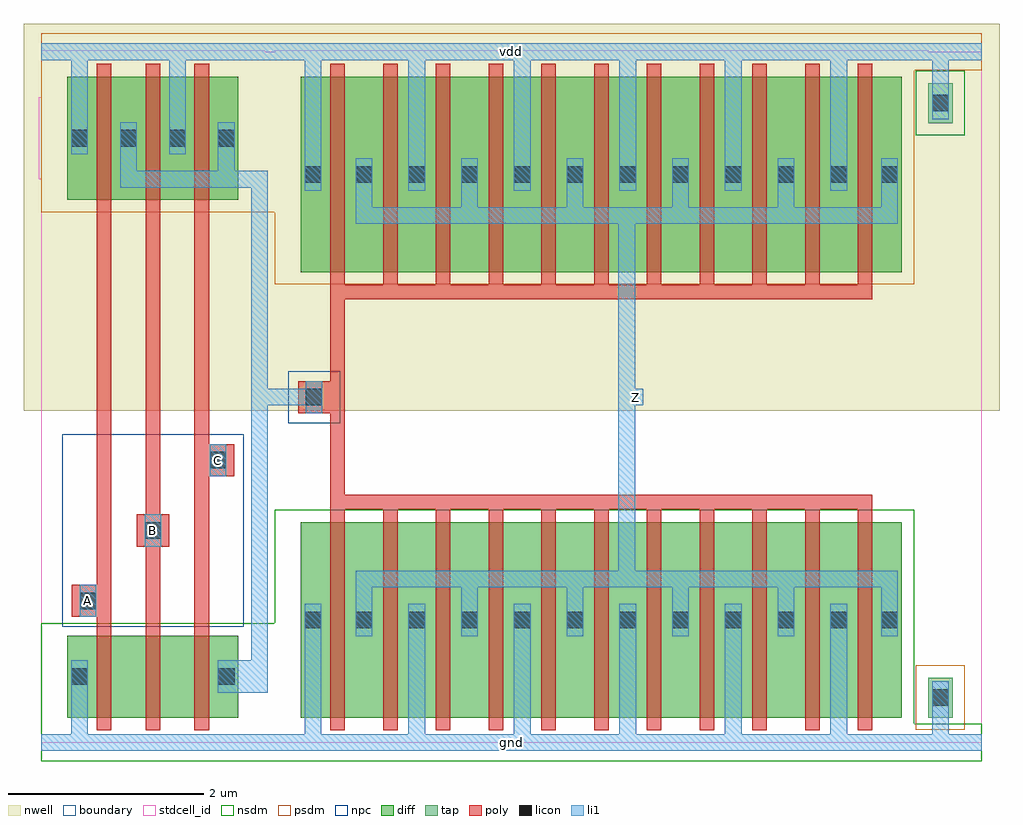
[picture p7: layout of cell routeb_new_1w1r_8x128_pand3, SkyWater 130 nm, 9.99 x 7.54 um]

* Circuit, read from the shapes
.subckt routeb_new_1w1r_8x128_pand3 A B C Z gnd vdd
XM1 routeb_new_1w1r_8x128_pnand3_0/routeb_new_1w1r_8x128_nmos_m1_w0_840_sli_dactive_3/D A gnd gnd sky130_fd_pr__nfet_01v8 w=0.84 l=0.15
XM2 routeb_new_1w1r_8x128_pnand3_0/routeb_new_1w1r_8x128_nmos_m1_w0_840_sactive_dactive_4/D B routeb_new_1w1r_8x128_pnand3_0/routeb_new_1w1r_8x128_nmos_m1_w0_840_sli_dactive_3/D gnd sky130_fd_pr__nfet_01v8 w=0.84 l=0.15
XM3 routeb_new_1w1r_8x128_pdriver_2_1/A C routeb_new_1w1r_8x128_pnand3_0/routeb_new_1w1r_8x128_nmos_m1_w0_840_sactive_dactive_4/D gnd sky130_fd_pr__nfet_01v8 w=0.84 l=0.15
XM4 Z routeb_new_1w1r_8x128_pdriver_2_1/A gnd gnd sky130_fd_pr__nfet_01v8 w=2 l=0.15 m=11
XM5 routeb_new_1w1r_8x128_pdriver_2_1/A A vdd vdd sky130_fd_pr__pfet_01v8 w=1.26 l=0.15
XM6 vdd B routeb_new_1w1r_8x128_pdriver_2_1/A vdd sky130_fd_pr__pfet_01v8 w=1.26 l=0.15
XM7 routeb_new_1w1r_8x128_pdriver_2_1/A C vdd vdd sky130_fd_pr__pfet_01v8 w=1.26 l=0.15
XM8 Z routeb_new_1w1r_8x128_pdriver_2_1/A vdd vdd sky130_fd_pr__pfet_01v8 w=2 l=0.15 m=11
.ends

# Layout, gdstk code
import gdstk
lib = gdstk.Library(unit=1e-6, precision=1e-09)
def R(c, l, rs):  # rectangles x0, y0, x1, y1
    for r in rs: c.add(gdstk.rectangle(r[:2], r[2:], *l))
def A(c, l, x, y, w, h, nx, ny, dx, dy):  # array of equal rectangles
    R(c, l, [(x+i*dx, y+j*dy, x+i*dx+w, y+j*dy+h) for i in range(nx) for j in range(ny)])
nwell = (64, 20)
diff = (65, 20)
tap = (65, 44)
poly = (66, 20)
licon = (66, 44)
li1 = (67, 20)
stdcell_id = (81, 4)
nsdm = (93, 44)
psdm = (94, 20)
npc = (95, 20)
boundary = (235, 4)

routeb_new_1w1r_8x128_co = lib.new_cell('routeb_new_1w1r_8x128_contact_11')
R(routeb_new_1w1r_8x128_co, nwell, [(-0.295,-0.255,0.545,0.585)])
R(routeb_new_1w1r_8x128_co, diff, [(0,0.02,0.25,0.31)])
R(routeb_new_1w1r_8x128_co, licon, [(0.04,0.08,0.21,0.25)])
R(routeb_new_1w1r_8x128_co, li1, [(0.04,0,0.21,0.33)])
R(routeb_new_1w1r_8x128_co, stdcell_id, [(-0.295,-0.255,0.545,0.585)])
R(routeb_new_1w1r_8x128_co, psdm, [(-0.125,-0.105,0.375,0.435)])
R(routeb_new_1w1r_8x128_co, boundary, [(-0.295,-0.255,0.545,0.585)])

routeb_new_1w1r_8x128_pm = lib.new_cell('routeb_new_1w1r_8x128_pmos_m1_w1_260_sli_dli')
R(routeb_new_1w1r_8x128_pm, nwell, [(-0.27,-0.27,1.02,1.53)])
R(routeb_new_1w1r_8x128_pm, diff, [(0,0,0.75,1.26)])
R(routeb_new_1w1r_8x128_pm, poly, [(0.3,-0.13,0.45,1.39), (0.3,-0.13,0.45,1.39)])
R(routeb_new_1w1r_8x128_pm, li1, [(0.04,0.465,0.21,0.795), (0.54,0.465,0.71,0.795)])
R(routeb_new_1w1r_8x128_pm, stdcell_id, [(-0.27,-0.27,1.02,1.53)])
R(routeb_new_1w1r_8x128_pm, psdm, [(-0.125,-0.125,0.875,1.385)])
R(routeb_new_1w1r_8x128_pm, boundary, [(-0.27,-0.27,1.02,1.53)])
routeb_new_1w1r_8x128_pm.add(gdstk.Reference(routeb_new_1w1r_8x128_co, (0,0.465)))
routeb_new_1w1r_8x128_pm.add(gdstk.Reference(routeb_new_1w1r_8x128_co, (0.5,0.465)))
routeb_new_1w1r_8x128_pm.add(gdstk.Label('G', (0.375,0.63), layer=66, texttype=5))
routeb_new_1w1r_8x128_pm.add(gdstk.Label('S', (0.125,0.63), layer=67, texttype=5))
routeb_new_1w1r_8x128_pm.add(gdstk.Label('D', (0.625,0.63), layer=67, texttype=5))

c_routeb_new_1w1r_8x128_co = lib.new_cell('routeb_new_1w1r_8x128_contact_10')
R(c_routeb_new_1w1r_8x128_co, diff, [(0,0.02,0.25,0.31)])
R(c_routeb_new_1w1r_8x128_co, licon, [(0.04,0.08,0.21,0.25)])
R(c_routeb_new_1w1r_8x128_co, li1, [(0.04,0,0.21,0.33)])
R(c_routeb_new_1w1r_8x128_co, stdcell_id, [(-0.125,-0.105,0.375,0.435)])
R(c_routeb_new_1w1r_8x128_co, nsdm, [(-0.125,-0.105,0.375,0.435)])
R(c_routeb_new_1w1r_8x128_co, boundary, [(-0.125,-0.105,0.375,0.435)])

routeb_new_1w1r_8x128_nm = lib.new_cell('routeb_new_1w1r_8x128_nmos_m1_w0_840_sli_dactive')
R(routeb_new_1w1r_8x128_nm, diff, [(0,0,0.75,0.84), (0.55,0.345,0.7,0.495)])
R(routeb_new_1w1r_8x128_nm, poly, [(0.3,-0.13,0.45,0.97), (0.3,-0.13,0.45,0.97)])
R(routeb_new_1w1r_8x128_nm, li1, [(0.04,0.255,0.21,0.585)])
R(routeb_new_1w1r_8x128_nm, stdcell_id, [(-0.125,-0.13,0.875,0.97)])
R(routeb_new_1w1r_8x128_nm, nsdm, [(-0.125,-0.125,0.875,0.965)])
R(routeb_new_1w1r_8x128_nm, boundary, [(-0.125,-0.13,0.875,0.97)])
routeb_new_1w1r_8x128_nm.add(gdstk.Reference(c_routeb_new_1w1r_8x128_co, (0,0.255)))
routeb_new_1w1r_8x128_nm.add(gdstk.Label('G', (0.375,0.42), layer=66, texttype=5))
routeb_new_1w1r_8x128_nm.add(gdstk.Label('S', (0.125,0.42), layer=67, texttype=5))
routeb_new_1w1r_8x128_nm.add(gdstk.Label('D', (0.625,0.42), layer=65, texttype=5))

c_routeb_new_1w1r_8x128_nm = lib.new_cell('routeb_new_1w1r_8x128_nmos_m1_w0_840_sactive_dactive')
R(c_routeb_new_1w1r_8x128_nm, diff, [(0,0,0.75,0.84), (0.05,0.345,0.2,0.495), (0.55,0.345,0.7,0.495)])
R(c_routeb_new_1w1r_8x128_nm, poly, [(0.3,-0.13,0.45,0.97), (0.3,-0.13,0.45,0.97)])
R(c_routeb_new_1w1r_8x128_nm, stdcell_id, [(-0.125,-0.13,0.875,0.97)])
R(c_routeb_new_1w1r_8x128_nm, nsdm, [(-0.125,-0.125,0.875,0.965)])
R(c_routeb_new_1w1r_8x128_nm, boundary, [(-0.125,-0.13,0.875,0.97)])
c_routeb_new_1w1r_8x128_nm.add(gdstk.Label('G', (0.375,0.42), layer=66, texttype=5))
c_routeb_new_1w1r_8x128_nm.add(gdstk.Label('S', (0.125,0.42), layer=65, texttype=5))
c_routeb_new_1w1r_8x128_nm.add(gdstk.Label('D', (0.625,0.42), layer=65, texttype=5))

c_routeb_new_1w1r_8x128_nm_ = lib.new_cell('routeb_new_1w1r_8x128_nmos_m1_w0_840_sactive_dli')
R(c_routeb_new_1w1r_8x128_nm_, diff, [(0,0,0.75,0.84), (0.05,0.345,0.2,0.495)])
R(c_routeb_new_1w1r_8x128_nm_, poly, [(0.3,-0.13,0.45,0.97), (0.3,-0.13,0.45,0.97)])
R(c_routeb_new_1w1r_8x128_nm_, li1, [(0.54,0.255,0.71,0.585)])
R(c_routeb_new_1w1r_8x128_nm_, stdcell_id, [(-0.125,-0.13,0.875,0.97)])
R(c_routeb_new_1w1r_8x128_nm_, nsdm, [(-0.125,-0.125,0.875,0.965)])
R(c_routeb_new_1w1r_8x128_nm_, boundary, [(-0.125,-0.13,0.875,0.97)])
c_routeb_new_1w1r_8x128_nm_.add(gdstk.Reference(c_routeb_new_1w1r_8x128_co, (0.5,0.255)))
c_routeb_new_1w1r_8x128_nm_.add(gdstk.Label('G', (0.375,0.42), layer=66, texttype=5))
c_routeb_new_1w1r_8x128_nm_.add(gdstk.Label('S', (0.125,0.42), layer=65, texttype=5))
c_routeb_new_1w1r_8x128_nm_.add(gdstk.Label('D', (0.625,0.42), layer=67, texttype=5))

c_routeb_new_1w1r_8x128_co_ = lib.new_cell('routeb_new_1w1r_8x128_contact_15')
R(c_routeb_new_1w1r_8x128_co_, poly, [(0,0,0.33,0.33)])
R(c_routeb_new_1w1r_8x128_co_, licon, [(0.08,0.08,0.25,0.25)])
R(c_routeb_new_1w1r_8x128_co_, li1, [(0.08,0,0.25,0.33)])
R(c_routeb_new_1w1r_8x128_co_, stdcell_id, [(-0.1,-0.1,0.43,0.43)])
R(c_routeb_new_1w1r_8x128_co_, npc, [(-0.1,-0.1,0.43,0.43)])
R(c_routeb_new_1w1r_8x128_co_, boundary, [(-0.1,-0.1,0.43,0.43)])

routeb_new_1w1r_8x128_pn = lib.new_cell('routeb_new_1w1r_8x128_pnand3')
R(routeb_new_1w1r_8x128_pn, nwell, [(-0.18,3.395,2.57,7.355)])
A(routeb_new_1w1r_8x128_pn, poly, 0.57, 1.225, 0.15, 4.2, 3, 1, 0.5, 0)
R(routeb_new_1w1r_8x128_pn, poly, [(0.48,1.285,0.57,1.615), (1.07,2.005,1.145,2.335), (1.57,2.725,1.81,3.055)])
R(routeb_new_1w1r_8x128_pn, li1, [(0,-0.085,2.39,0.085), (0.31,-0.085,0.48,0.51), (1.895,0.51,2.235,0.84), (2.15,0.51,2.32,5.765), (0.395,1.285,0.565,1.615), (1.06,2.005,1.23,2.335), (1.725,2.725,1.895,3.055), (0.81,5.68,0.98,5.85), (0.895,5.68,2.235,5.85), (1.81,5.68,1.98,5.85), (1.895,5.68,2.235,5.85), (2.15,5.68,2.32,5.85), (0.81,5.765,0.98,6.185), (1.81,5.765,1.98,6.185), (0.31,6.02,0.48,7.155), (1.31,6.02,1.48,7.155), (0,6.985,2.39,7.155)])
R(routeb_new_1w1r_8x128_pn, stdcell_id, [(0,0,2.39,7.07), (0,0,2.39,7.07)])
R(routeb_new_1w1r_8x128_pn, nsdm, [(0,-0.19,2.39,0.19), (0,0,2.39,1.22)])
R(routeb_new_1w1r_8x128_pn, psdm, [(0,5.43,2.39,7.07), (0,6.88,2.39,7.26)])
R(routeb_new_1w1r_8x128_pn, npc, [(0.215,1.185,2.075,3.155)])
R(routeb_new_1w1r_8x128_pn, boundary, [(0,0,2.39,7.07), (0,0,2.39,7.07)])
routeb_new_1w1r_8x128_pn.add(gdstk.Reference(routeb_new_1w1r_8x128_pm, (0.27,5.555)))
routeb_new_1w1r_8x128_pn.add(gdstk.Reference(routeb_new_1w1r_8x128_pm, (0.77,5.555)))
routeb_new_1w1r_8x128_pn.add(gdstk.Reference(routeb_new_1w1r_8x128_pm, (1.27,5.555)))
routeb_new_1w1r_8x128_pn.add(gdstk.Reference(routeb_new_1w1r_8x128_nm, (0.27,0.255)))
routeb_new_1w1r_8x128_pn.add(gdstk.Reference(c_routeb_new_1w1r_8x128_nm, (0.77,0.255)))
routeb_new_1w1r_8x128_pn.add(gdstk.Reference(c_routeb_new_1w1r_8x128_nm_, (1.27,0.255)))
routeb_new_1w1r_8x128_pn.add(gdstk.Reference(c_routeb_new_1w1r_8x128_co_, (0.315,1.285)))
routeb_new_1w1r_8x128_pn.add(gdstk.Reference(c_routeb_new_1w1r_8x128_co_, (0.98,2.005)))
routeb_new_1w1r_8x128_pn.add(gdstk.Reference(c_routeb_new_1w1r_8x128_co_, (1.645,2.725)))
routeb_new_1w1r_8x128_pn.add(gdstk.Label('A', (0.48,1.45), layer=67, texttype=5))
routeb_new_1w1r_8x128_pn.add(gdstk.Label('B', (1.145,2.17), layer=67, texttype=5))
routeb_new_1w1r_8x128_pn.add(gdstk.Label('C', (1.81,2.89), layer=67, texttype=5))
routeb_new_1w1r_8x128_pn.add(gdstk.Label('Z', (2.235,5.765), layer=67, texttype=5))
routeb_new_1w1r_8x128_pn.add(gdstk.Label('gnd', (1.195,0), layer=67, texttype=5))
routeb_new_1w1r_8x128_pn.add(gdstk.Label('vdd', (1.195,7.07), layer=67, texttype=5))

c_routeb_new_1w1r_8x128_pm = lib.new_cell('routeb_new_1w1r_8x128_pmos_m11_w2_000_sli_dli_da_p')
R(c_routeb_new_1w1r_8x128_pm, nwell, [(-0.27,-0.27,6.42,2.27)])
R(c_routeb_new_1w1r_8x128_pm, diff, [(0,0,6.15,2)])
A(c_routeb_new_1w1r_8x128_pm, poly, 0.3, -0.13, 0.15, 2.26, 11, 1, 0.54, 0)
R(c_routeb_new_1w1r_8x128_pm, poly, [(0.3,-0.28,5.85,-0.13)])
A(c_routeb_new_1w1r_8x128_pm, li1, 0.56, 0.58, 0.17, 0.42, 5, 1, 1.08, 0)
A(c_routeb_new_1w1r_8x128_pm, li1, 1.1, 0.835, 0.17, 0.33, 5, 1, 1.08, 0)
R(c_routeb_new_1w1r_8x128_pm, li1, [(0.56,0.495,6.11,0.665), (5.94,0.58,6.11,1), (0.04,0.835,0.21,1.165)])
R(c_routeb_new_1w1r_8x128_pm, stdcell_id, [(-0.27,-0.28,6.42,2.27)])
R(c_routeb_new_1w1r_8x128_pm, psdm, [(-0.125,-0.125,6.275,2.125)])
R(c_routeb_new_1w1r_8x128_pm, boundary, [(-0.27,-0.28,6.42,2.27)])
c_routeb_new_1w1r_8x128_pm.add(gdstk.Reference(routeb_new_1w1r_8x128_co, (0,0.835)))
c_routeb_new_1w1r_8x128_pm.add(gdstk.Reference(routeb_new_1w1r_8x128_co, (0.52,0.835)))
c_routeb_new_1w1r_8x128_pm.add(gdstk.Reference(routeb_new_1w1r_8x128_co, (1.06,0.835)))
c_routeb_new_1w1r_8x128_pm.add(gdstk.Reference(routeb_new_1w1r_8x128_co, (1.6,0.835)))
c_routeb_new_1w1r_8x128_pm.add(gdstk.Reference(routeb_new_1w1r_8x128_co, (2.14,0.835)))
c_routeb_new_1w1r_8x128_pm.add(gdstk.Reference(routeb_new_1w1r_8x128_co, (2.68,0.835)))
c_routeb_new_1w1r_8x128_pm.add(gdstk.Reference(routeb_new_1w1r_8x128_co, (3.22,0.835)))
c_routeb_new_1w1r_8x128_pm.add(gdstk.Reference(routeb_new_1w1r_8x128_co, (3.76,0.835)))
c_routeb_new_1w1r_8x128_pm.add(gdstk.Reference(routeb_new_1w1r_8x128_co, (4.3,0.835)))
c_routeb_new_1w1r_8x128_pm.add(gdstk.Reference(routeb_new_1w1r_8x128_co, (4.84,0.835)))
c_routeb_new_1w1r_8x128_pm.add(gdstk.Reference(routeb_new_1w1r_8x128_co, (5.38,0.835)))
c_routeb_new_1w1r_8x128_pm.add(gdstk.Reference(routeb_new_1w1r_8x128_co, (5.9,0.835)))
c_routeb_new_1w1r_8x128_pm.add(gdstk.Label('G', (3.075,-0.205), layer=66, texttype=5))
c_routeb_new_1w1r_8x128_pm.add(gdstk.Label('S', (0.125,1), layer=67, texttype=5))
c_routeb_new_1w1r_8x128_pm.add(gdstk.Label('S', (2.265,1), layer=67, texttype=5))
c_routeb_new_1w1r_8x128_pm.add(gdstk.Label('S', (5.505,1), layer=67, texttype=5))
c_routeb_new_1w1r_8x128_pm.add(gdstk.Label('S', (3.345,1), layer=67, texttype=5))
c_routeb_new_1w1r_8x128_pm.add(gdstk.Label('S', (1.185,1), layer=67, texttype=5))
c_routeb_new_1w1r_8x128_pm.add(gdstk.Label('S', (4.425,1), layer=67, texttype=5))
c_routeb_new_1w1r_8x128_pm.add(gdstk.Label('D', (3.335,0.58), layer=67, texttype=5))

c_routeb_new_1w1r_8x128_nm__ = lib.new_cell('routeb_new_1w1r_8x128_nmos_m11_w2_000_sli_dli_da_p')
R(c_routeb_new_1w1r_8x128_nm__, diff, [(0,0,6.15,2)])
A(c_routeb_new_1w1r_8x128_nm__, poly, 0.3, -0.13, 0.15, 2.26, 11, 1, 0.54, 0)
R(c_routeb_new_1w1r_8x128_nm__, poly, [(0.3,2.13,5.85,2.28)])
A(c_routeb_new_1w1r_8x128_nm__, li1, 1.1, 0.835, 0.17, 0.33, 5, 1, 1.08, 0)
A(c_routeb_new_1w1r_8x128_nm__, li1, 0.56, 1, 0.17, 0.42, 5, 1, 1.08, 0)
R(c_routeb_new_1w1r_8x128_nm__, li1, [(0.04,0.835,0.21,1.165), (5.94,1,6.11,1.42), (0.56,1.335,6.11,1.505)])
R(c_routeb_new_1w1r_8x128_nm__, stdcell_id, [(-0.125,-0.13,6.275,2.28)])
R(c_routeb_new_1w1r_8x128_nm__, nsdm, [(-0.125,-0.125,6.275,2.125)])
R(c_routeb_new_1w1r_8x128_nm__, boundary, [(-0.125,-0.13,6.275,2.28)])
c_routeb_new_1w1r_8x128_nm__.add(gdstk.Reference(c_routeb_new_1w1r_8x128_co, (0,0.835)))
c_routeb_new_1w1r_8x128_nm__.add(gdstk.Reference(c_routeb_new_1w1r_8x128_co, (0.52,0.835)))
c_routeb_new_1w1r_8x128_nm__.add(gdstk.Reference(c_routeb_new_1w1r_8x128_co, (1.06,0.835)))
c_routeb_new_1w1r_8x128_nm__.add(gdstk.Reference(c_routeb_new_1w1r_8x128_co, (1.6,0.835)))
c_routeb_new_1w1r_8x128_nm__.add(gdstk.Reference(c_routeb_new_1w1r_8x128_co, (2.14,0.835)))
c_routeb_new_1w1r_8x128_nm__.add(gdstk.Reference(c_routeb_new_1w1r_8x128_co, (2.68,0.835)))
c_routeb_new_1w1r_8x128_nm__.add(gdstk.Reference(c_routeb_new_1w1r_8x128_co, (3.22,0.835)))
c_routeb_new_1w1r_8x128_nm__.add(gdstk.Reference(c_routeb_new_1w1r_8x128_co, (3.76,0.835)))
c_routeb_new_1w1r_8x128_nm__.add(gdstk.Reference(c_routeb_new_1w1r_8x128_co, (4.3,0.835)))
c_routeb_new_1w1r_8x128_nm__.add(gdstk.Reference(c_routeb_new_1w1r_8x128_co, (4.84,0.835)))
c_routeb_new_1w1r_8x128_nm__.add(gdstk.Reference(c_routeb_new_1w1r_8x128_co, (5.38,0.835)))
c_routeb_new_1w1r_8x128_nm__.add(gdstk.Reference(c_routeb_new_1w1r_8x128_co, (5.9,0.835)))
c_routeb_new_1w1r_8x128_nm__.add(gdstk.Label('G', (3.075,2.205), layer=66, texttype=5))
c_routeb_new_1w1r_8x128_nm__.add(gdstk.Label('S', (0.125,1), layer=67, texttype=5))
c_routeb_new_1w1r_8x128_nm__.add(gdstk.Label('S', (2.265,1), layer=67, texttype=5))
c_routeb_new_1w1r_8x128_nm__.add(gdstk.Label('S', (5.505,1), layer=67, texttype=5))
c_routeb_new_1w1r_8x128_nm__.add(gdstk.Label('S', (3.345,1), layer=67, texttype=5))
c_routeb_new_1w1r_8x128_nm__.add(gdstk.Label('S', (1.185,1), layer=67, texttype=5))
c_routeb_new_1w1r_8x128_nm__.add(gdstk.Label('S', (4.425,1), layer=67, texttype=5))
c_routeb_new_1w1r_8x128_nm__.add(gdstk.Label('D', (3.335,1.42), layer=67, texttype=5))

c_routeb_new_1w1r_8x128_co__ = lib.new_cell('routeb_new_1w1r_8x128_contact_24')
R(c_routeb_new_1w1r_8x128_co__, nwell, [(-0.295,-0.215,0.545,0.625)])
R(c_routeb_new_1w1r_8x128_co__, tap, [(0,0,0.25,0.41)])
R(c_routeb_new_1w1r_8x128_co__, licon, [(0.04,0.12,0.21,0.29)])
R(c_routeb_new_1w1r_8x128_co__, li1, [(0.04,0.04,0.21,0.37)])
R(c_routeb_new_1w1r_8x128_co__, stdcell_id, [(-0.295,-0.215,0.545,0.625)])
R(c_routeb_new_1w1r_8x128_co__, nsdm, [(-0.125,-0.125,0.375,0.535)])
R(c_routeb_new_1w1r_8x128_co__, boundary, [(-0.295,-0.215,0.545,0.625)])

c_routeb_new_1w1r_8x128_co___ = lib.new_cell('routeb_new_1w1r_8x128_contact_25')
R(c_routeb_new_1w1r_8x128_co___, tap, [(0,0,0.25,0.41)])
R(c_routeb_new_1w1r_8x128_co___, licon, [(0.04,0.12,0.21,0.29)])
R(c_routeb_new_1w1r_8x128_co___, li1, [(0.04,0.04,0.21,0.37)])
R(c_routeb_new_1w1r_8x128_co___, stdcell_id, [(-0.125,-0.125,0.375,0.535)])
R(c_routeb_new_1w1r_8x128_co___, psdm, [(-0.125,-0.125,0.375,0.535)])
R(c_routeb_new_1w1r_8x128_co___, boundary, [(-0.125,-0.125,0.375,0.535)])

routeb_new_1w1r_8x128_pi = lib.new_cell('routeb_new_1w1r_8x128_pinv_9')
R(routeb_new_1w1r_8x128_pi, nwell, [(-0.18,3.395,7.42,7.355)])
R(routeb_new_1w1r_8x128_pi, poly, [(0.57,2.535,0.72,4.535), (0.405,3.37,0.57,3.7)])
A(routeb_new_1w1r_8x128_pi, li1, 1.37, -0.085, 0.17, 1.175, 5, 1, 1.08, 0)
A(routeb_new_1w1r_8x128_pi, li1, 1.37, 5.65, 0.17, 1.505, 5, 1, 1.08, 0)
R(routeb_new_1w1r_8x128_pi, li1, [(0,-0.085,7.24,0.085), (0.31,-0.085,0.48,1.09), (6.73,0,6.9,0.46), (3.52,1.59,3.69,5.48), (0.32,3.37,0.49,3.7), (3.605,3.45,3.775,3.62), (0.31,5.65,0.48,7.155), (6.73,6.545,6.9,7.07), (0,6.985,7.24,7.155)])
R(routeb_new_1w1r_8x128_pi, stdcell_id, [(0,0,7.24,7.07), (0,0,7.24,7.07)])
R(routeb_new_1w1r_8x128_pi, nsdm, [(0,-0.19,7.24,0.19), (0,0,6.545,2.38)])
R(routeb_new_1w1r_8x128_pi, psdm, [(0,4.69,6.545,7.07), (0,6.88,7.24,7.26)])
R(routeb_new_1w1r_8x128_pi, boundary, [(0,0,7.24,7.07), (0,0,7.24,7.07)])
routeb_new_1w1r_8x128_pi.add(gdstk.Reference(c_routeb_new_1w1r_8x128_pm, (0.27,4.815)))
routeb_new_1w1r_8x128_pi.add(gdstk.Reference(c_routeb_new_1w1r_8x128_nm__, (0.27,0.255)))
routeb_new_1w1r_8x128_pi.add(gdstk.Reference(c_routeb_new_1w1r_8x128_co__, (6.69,6.34)))
routeb_new_1w1r_8x128_pi.add(gdstk.Reference(c_routeb_new_1w1r_8x128_co___, (6.69,0.255)))
routeb_new_1w1r_8x128_pi.add(gdstk.Reference(c_routeb_new_1w1r_8x128_co_, (0.24,3.37)))
routeb_new_1w1r_8x128_pi.add(gdstk.Label('A', (0.405,3.535), layer=67, texttype=5))
routeb_new_1w1r_8x128_pi.add(gdstk.Label('Z', (3.69,3.535), layer=67, texttype=5))
routeb_new_1w1r_8x128_pi.add(gdstk.Label('gnd', (3.62,0), layer=67, texttype=5))
routeb_new_1w1r_8x128_pi.add(gdstk.Label('vdd', (3.62,7.07), layer=67, texttype=5))

routeb_new_1w1r_8x128_pd = lib.new_cell('routeb_new_1w1r_8x128_pdriver_2')
R(routeb_new_1w1r_8x128_pd, nwell, [(-0.18,3.395,7.42,7.355)])
R(routeb_new_1w1r_8x128_pd, li1, [(0,-0.085,7.24,0.085), (0.32,3.37,0.49,3.7), (3.605,3.45,3.775,3.62), (0,6.985,7.24,7.155)])
R(routeb_new_1w1r_8x128_pd, stdcell_id, [(0,0,7.24,7.07), (0,0,7.24,7.07)])
R(routeb_new_1w1r_8x128_pd, nsdm, [(0,-0.19,7.24,0.19)])
R(routeb_new_1w1r_8x128_pd, psdm, [(0,6.88,7.24,7.26)])
R(routeb_new_1w1r_8x128_pd, boundary, [(0,0,7.24,7.07), (0,0,7.24,7.07)])
routeb_new_1w1r_8x128_pd.add(gdstk.Reference(routeb_new_1w1r_8x128_pi, (0,0)))
routeb_new_1w1r_8x128_pd.add(gdstk.Label('Z', (3.69,3.535), layer=67, texttype=5))
routeb_new_1w1r_8x128_pd.add(gdstk.Label('A', (0.405,3.535), layer=67, texttype=5))
routeb_new_1w1r_8x128_pd.add(gdstk.Label('gnd', (3.62,0), layer=67, texttype=5))
routeb_new_1w1r_8x128_pd.add(gdstk.Label('vdd', (3.62,7.07), layer=67, texttype=5))

routeb_new_1w1r_8x128_pa = lib.new_cell('routeb_new_1w1r_8x128_pand3')
R(routeb_new_1w1r_8x128_pa, li1, [(0,-0.085,9.63,0.085), (0.395,1.285,0.565,1.615), (1.06,2.005,1.23,2.335), (1.725,2.725,1.895,3.055), (2.15,3.45,2.32,3.62), (2.235,3.45,2.795,3.62), (5.995,3.45,6.165,3.62), (2.15,3.535,2.32,5.765), (0,6.985,9.63,7.155)])
R(routeb_new_1w1r_8x128_pa, stdcell_id, [(0,0,9.63,7.07), (0,0,9.63,7.07)])
R(routeb_new_1w1r_8x128_pa, boundary, [(0,0,9.63,7.07), (0,0,9.63,7.07)])
routeb_new_1w1r_8x128_pa.add(gdstk.Reference(routeb_new_1w1r_8x128_pn, (0,0)))
routeb_new_1w1r_8x128_pa.add(gdstk.Reference(routeb_new_1w1r_8x128_pd, (2.39,0)))
routeb_new_1w1r_8x128_pa.add(gdstk.Label('Z', (6.08,3.535), layer=67, texttype=5))
routeb_new_1w1r_8x128_pa.add(gdstk.Label('A', (0.48,1.45), layer=67, texttype=5))
routeb_new_1w1r_8x128_pa.add(gdstk.Label('B', (1.145,2.17), layer=67, texttype=5))
routeb_new_1w1r_8x128_pa.add(gdstk.Label('C', (1.81,2.89), layer=67, texttype=5))
routeb_new_1w1r_8x128_pa.add(gdstk.Label('gnd', (4.815,0), layer=67, texttype=5))
routeb_new_1w1r_8x128_pa.add(gdstk.Label('vdd', (4.815,7.07), layer=67, texttype=5))

lib.write_gds('routeb_new_1w1r_8x128_pand3.gds')
